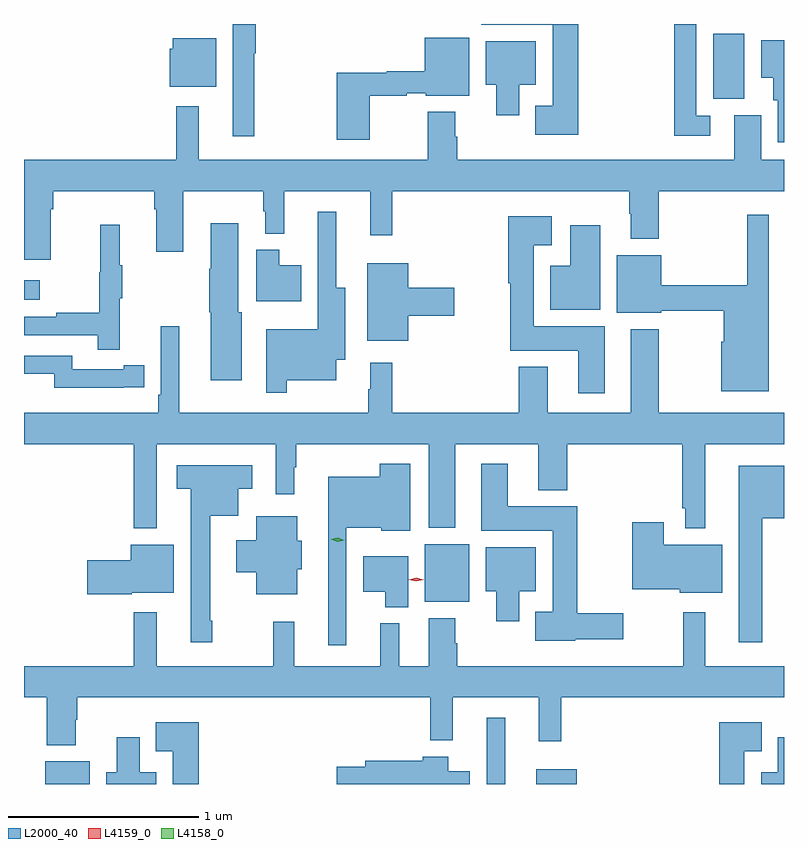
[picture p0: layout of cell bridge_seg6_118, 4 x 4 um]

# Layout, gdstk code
import gdstk
lib = gdstk.Library(unit=1e-6, precision=1e-09)
def R(c, l, rs):  # rectangles x0, y0, x1, y1
    for r in rs: c.add(gdstk.rectangle(r[:2], r[2:], *l))
def P(c, l, *ps):  # polygons
    for p in ps: c.add(gdstk.Polygon(p, *l))
L2000_40 = (2000, 40)
L4158_0 = (4158, 0)
L4159_0 = (4159, 0)

bridge_seg6_118 = lib.new_cell('bridge_seg6_118')
R(bridge_seg6_118, L2000_40, [(494.36,973.519,494.593,973.639), (496.683,973.519,496.78,973.867), (496.943,973.519,497.158,973.597), (496.358,974.477,496.591,974.782), (494.248,976.067,494.332,976.171), (497.876,977.125,498.04,977.468)])
P(bridge_seg6_118, L2000_40, [(497.165,977.519),(496.655,977.519),(496.655,977.516),(497.03,977.516),(497.03,977.089),(496.94,977.089),(496.94,976.937),(497.165,976.937)],
  [(497.86,977.037),(497.787,977.037),(497.787,977.519),(497.671,977.519),(497.671,976.932),(497.86,976.932)],
  [(495.461,977.365),(495.469,977.365),(495.469,977.519),(495.347,977.519),(495.347,976.929),(495.461,976.929)],
  [(496.068,977.142),(496.262,977.142),(496.262,977.154),(496.362,977.154),(496.362,977.141),(496.591,977.141),(496.591,977.446),(496.358,977.446),(496.358,977.27),(496.156,977.27),(496.156,977.263),(495.895,977.263),(495.895,976.911),(496.068,976.911)],
  [(495.259,977.443),(495.032,977.443),(495.032,977.388),(495.014,977.388),(495.014,977.189),(495.259,977.189)],
  [(498.248,977.434),(498.128,977.434),(498.128,977.237),(498.191,977.237),(498.191,977.118),(498.216,977.118),(498.216,976.896),(498.248,976.896)],
  [(496.855,977.198),(496.942,977.198),(496.942,977.428),(496.679,977.428),(496.679,977.198),(496.733,977.198),(496.733,977.04),(496.855,977.04)],
  [(498.248,976.804),(498.127,976.804),(498.127,977.04),(497.987,977.04),(497.987,976.804),(496.527,976.804),(496.527,976.925),(496.519,976.925),(496.519,977.056),(496.372,977.056),(496.372,976.804),(495.169,976.804),(495.169,977.086),(495.048,977.086),(495.048,976.804),(494.248,976.804),(494.248,976.544),(494.249,976.544),(494.249,976.278),(494.389,976.278),(494.389,976.544),(494.402,976.544),(494.402,976.64),(494.933,976.64),(494.933,976.544),(494.945,976.544),(494.945,976.32),(495.085,976.32),(495.085,976.64),(495.507,976.64),(495.507,976.533),(495.518,976.533),(495.518,976.415),(495.617,976.415),(495.617,976.64),(496.07,976.64),(496.07,976.407),(496.187,976.407),(496.187,976.64),(497.434,976.64),(497.434,976.52),(497.441,976.52),(497.441,976.388),(497.589,976.388),(497.589,976.64),(498.248,976.64)],
  [(495.631,975.644),(495.892,975.644),(495.892,975.752),(495.94,975.752),(495.94,976.132),(495.892,976.132),(495.892,976.531),(495.795,976.531),(495.795,975.913),(495.522,975.913),(495.522,975.579),(495.631,975.579)],
  [(498.169,976.516),(498.055,976.516),(498.055,976.145),(497.602,976.145),(497.602,976.303),(497.369,976.303),(497.369,975.998),(497.602,975.998),(497.602,976.009),(497.93,976.009),(497.93,975.846),(497.918,975.846),(497.918,975.587),(498.169,975.587)],
  [(497.305,975.928),(496.93,975.928),(496.93,976.355),(497.026,976.355),(497.026,976.507),(496.796,976.507),(496.796,976.154),(496.808,976.154),(496.808,975.8),(497.165,975.8),(497.165,975.576),(497.305,975.576)],
  [(495.394,976.002),(495.376,976.002),(495.376,976.471),(495.23,976.471),(495.23,976.232),(495.223,976.232),(495.223,976.002),(495.23,976.002),(495.23,975.644),(495.394,975.644)],
  [(494.753,976.075),(494.764,976.075),(494.764,976.249),(494.753,976.249),(494.753,976.462),(494.65,976.462),(494.65,976.212),(494.643,976.212),(494.643,975.998),(494.419,975.998),(494.419,975.978),(494.248,975.978),(494.248,975.882),(494.635,975.882),(494.635,975.804),(494.753,975.804)],
  [(497.281,976.459),(497.123,976.459),(497.123,976.246),(497.018,976.246),(497.018,976.016),(497.281,976.016)],
  [(495.706,976.249),(495.592,976.249),(495.592,976.33),(495.47,976.33),(495.47,976.061),(495.706,976.061)],
  [(496.27,975.983),(496.513,975.983),(496.513,976.13),(496.27,976.13),(496.27,976.261),(496.055,976.261),(496.055,975.851),(496.27,975.851)],
  [(494.947,975.308),(495.573,975.308),(495.573,975.045),(495.67,975.045),(495.67,975.185),(495.682,975.185),(495.682,975.308),(496.379,975.308),(496.379,974.867),(496.519,974.867),(496.519,975.308),(496.955,975.308),(496.955,975.065),(497.108,975.065),(497.108,975.308),(497.712,975.308),(497.712,974.971),(497.729,974.971),(497.729,974.864),(497.833,974.864),(497.833,975.308),(498.248,975.308),(498.248,975.472),(497.589,975.472),(497.589,975.913),(497.441,975.913),(497.441,975.472),(497.005,975.472),(497.005,975.715),(496.853,975.715),(496.853,975.472),(496.187,975.472),(496.187,975.736),(496.07,975.736),(496.07,975.596),(496.059,975.596),(496.059,975.472),(495.064,975.472),(495.064,975.928),(494.967,975.928),(494.967,975.568),(494.954,975.568),(494.954,975.472),(494.248,975.472),(494.248,975.308),(494.826,975.308),(494.826,974.864),(494.947,974.864)],
  [(494.774,975.606),(494.882,975.606),(494.882,975.722),(494.774,975.722),(494.774,975.702),(494.502,975.702),(494.502,975.774),(494.248,975.774),(494.248,975.678),(494.406,975.678),(494.406,975.605),(494.774,975.605)],
  [(497.148,974.282),(497.401,974.282),(497.401,974.417),(497.16,974.417),(497.16,974.98),(496.795,974.98),(496.795,975.205),(496.655,975.205),(496.655,974.852),(497.03,974.852),(497.03,974.425),(496.94,974.425),(496.94,974.273),(497.148,974.273)],
  [(495.945,974.867),(496.128,974.867),(496.128,974.852),(496.282,974.852),(496.282,975.205),(496.121,975.205),(496.121,975.136),(495.848,975.136),(495.848,974.25),(495.945,974.25)],
  [(495.239,974.377),(495.229,974.377),(495.229,974.93),(495.376,974.93),(495.376,975.074),(495.448,975.074),(495.448,975.196),(495.051,975.196),(495.051,975.074),(495.125,975.074),(495.125,974.265),(495.239,974.265)],
  [(498.133,974.918),(498.248,974.918),(498.248,975.193),(498.011,975.193),(498.011,974.265),(498.133,974.265)],
  [(495.685,974.649),(495.709,974.649),(495.709,974.799),(495.685,974.799),(495.685,974.929),(495.47,974.929),(495.47,974.803),(495.365,974.803),(495.365,974.633),(495.47,974.633),(495.47,974.519),(495.685,974.519)],
  [(497.923,974.779),(497.614,974.779),(497.614,974.896),(497.449,974.896),(497.449,974.543),(497.7,974.543),(497.7,974.525),(497.923,974.525)],
  [(494.814,974.525),(495.037,974.525),(495.037,974.779),(494.81,974.779),(494.81,974.696),(494.58,974.696),(494.58,974.518),(494.814,974.518)],
  [(496.855,974.534),(496.942,974.534),(496.942,974.764),(496.679,974.764),(496.679,974.534),(496.733,974.534),(496.733,974.376),(496.855,974.376)],
  [(496.27,974.719),(496.034,974.719),(496.034,974.531),(496.148,974.531),(496.148,974.45),(496.27,974.45)],
  [(494.248,973.976),(494.369,973.976),(494.369,973.724),(494.521,973.724),(494.521,973.856),(494.529,973.856),(494.529,973.976),(496.387,973.976),(496.387,973.748),(496.505,973.748),(496.505,973.976),(496.958,973.976),(496.958,973.743),(497.075,973.743),(497.075,973.976),(498.248,973.976),(498.248,974.14),(497.833,974.14),(497.833,974.422),(497.719,974.422),(497.719,974.14),(496.527,974.14),(496.527,974.261),(496.519,974.261),(496.519,974.392),(496.379,974.392),(496.379,974.14),(496.222,974.14),(496.222,974.365),(496.124,974.365),(496.124,974.14),(495.671,974.14),(495.671,974.374),(495.561,974.374),(495.561,974.14),(494.947,974.14),(494.947,974.422),(494.826,974.422),(494.826,974.14),(494.248,974.14)],
  [(498.04,973.691),(498.13,973.691),(498.13,973.843),(497.906,973.843),(497.906,973.519),(498.04,973.519)],
  [(495.167,973.843),(494.942,973.843),(494.942,973.691),(495.032,973.691),(495.032,973.519),(495.167,973.519)],
  [(494.944,973.582),(494.857,973.582),(494.857,973.765),(494.735,973.765),(494.735,973.582),(494.681,973.582),(494.681,973.519),(494.944,973.519)],
  [(498.248,973.765),(498.215,973.765),(498.215,973.582),(498.128,973.582),(498.128,973.519),(498.248,973.519)],
  [(496.594,973.585),(496.48,973.585),(496.48,973.663),(496.346,973.663),(496.346,973.641),(496.043,973.641),(496.043,973.611),(495.894,973.611),(495.894,973.519),(496.594,973.519)])
P(bridge_seg6_118, L4158_0, [(495.898,974.794),(495.863,974.806),(495.863,974.806),(495.863,974.807),(495.899,974.814),(495.934,974.801),(495.934,974.801),(495.934,974.801)])
P(bridge_seg6_118, L4159_0, [(496.313,974.585),(496.274,974.595),(496.274,974.595),(496.274,974.595),(496.313,974.605),(496.352,974.595),(496.352,974.595),(496.352,974.595)])

lib.write_gds('bridge_seg6_118.gds')
